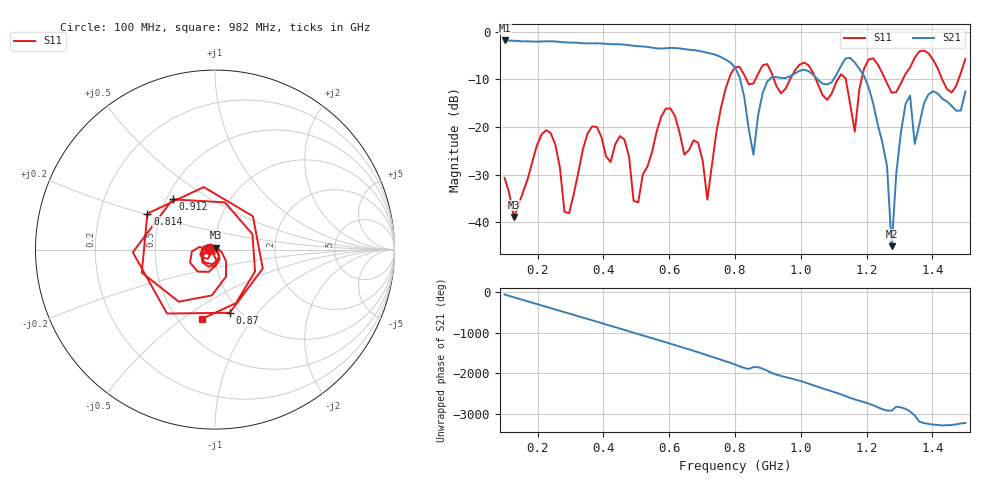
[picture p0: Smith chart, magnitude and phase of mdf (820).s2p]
! NanoVNA-App
! Date: 2025-09-25 15:44:48
! Start: 100MHz Stop: 1,5GHz Points: 101
! S-Parameter data: F S11 S21 S12 S22
# Hz S RI R 50
!  Frequency  S11_Real  S11_Imag  S21_Real  S21_Imag  S12_Real  S12_Imag  S22_Real  S22_Imag
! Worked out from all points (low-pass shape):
!   101 points, 100 MHz to 1.5 GHz, reference 50 ohm
!   highest |S21| = -1.80 dB at 100 MHz (marker M1); lowest = -45.1 dB at 1.276 GHz (marker M2)
!   |S21| within 3 dB of the highest: start of sweep to 739.3 MHz
!   lowest |S11| = -39.0 dB at 128 MHz (marker M3), VSWR 1.02, Z = 50.3 + j1.08 ohm
!   |S11| at or under -10 dB: start of sweep to 781.2 MHz; 1.046 GHz to 1.112 GHz (66.42 MHz wide, 6.15 % of centre); 1.256 GHz to 1.31 GHz (53.37 MHz wide, 4.16 % of centre) (the widest 3 of 7)
!   S12 and S22 are empty: the file has one direction only
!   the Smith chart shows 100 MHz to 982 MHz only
!   S11 on the Smith chart (normalised r, x): 100 MHz: 0.94, -0.01; 814 MHz: 0.42, +0.21; 870 MHz: 0.90, -0.73; 912 MHz: 0.54, +0.35; 982 MHz: 0.65, -0.59
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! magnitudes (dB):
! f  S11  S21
! 100 MHz  -30.7  -1.8
! 128 MHz  -39.0  -1.9
! 212 MHz  -21.6  -2.0
! 282 MHz  -37.9  -2.2
! 338 MHz  -24.7  -2.4
! 464 MHz  -22.6  -2.7
! 506 MHz  -35.8  -3.0
! 576 MHz  -17.8  -3.5
! 716 MHz  -35.3  -4.4
! 800 MHz  -7.4  -7.4
! 814 MHz  -7.4  -9.5
! 856 MHz  -10.9  -25.9
! 870 MHz  -8.8  -17.6
! 912 MHz  -8.7  -9.5
! 982 MHz  -8.1  -8.7
! 1.038 GHz  -8.7  -9.0
! 1.164 GHz  -21.0  -6.5
! 1.192 GHz  -7.7  -9.3
! 1.262 GHz  -10.8  -28.3
! 1.276 GHz  -12.8  -45.1
! 1.318 GHz  -8.8  -15.2
! 1.5 GHz  -5.7  -12.6
